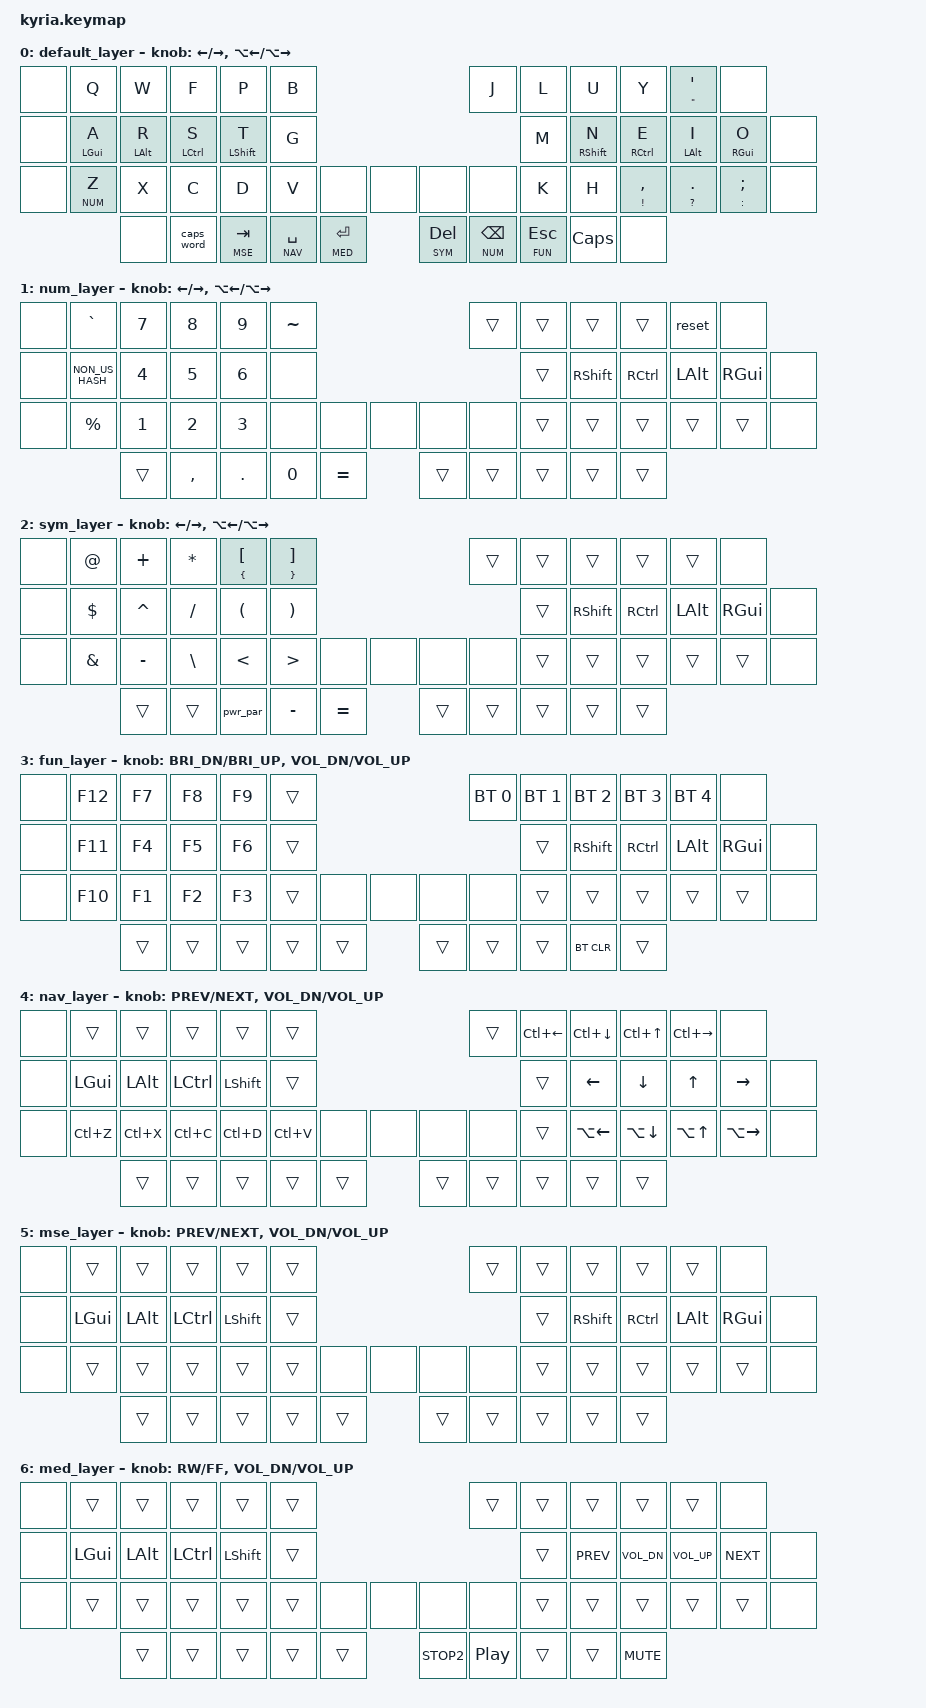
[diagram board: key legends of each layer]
/*
 * Copyright (c) 2020 The ZMK Contributors
 *
 * SPDX-License-Identifier: MIT
 */

#include <behaviors.dtsi>
#include <dt-bindings/zmk/keys.h>
#include <dt-bindings/zmk/bt.h>
#include <dt-bindings/zmk/outputs.h>

// Encoder resolutions
&left_encoder   { resolution = <3>; };
&right_encoder  { resolution = <3>; };

// None/Trans
#define _____ &none
#define t____ &trans

// Layers
#define DEFAULT 0
#define NUM 1
#define SYM 2
#define FUN 3
#define NAV 4
#define MSE 5
#define MED 6

/ {
macros {
        pwr_par: pwr_par {
		label = "power_parethesis";
		compatible = "zmk,behavior-macro";
		#binding-cells = <0>;
		wait-ms = <40>;
		tap-ms = <40>;
		bindings
		= <&kp LPAR &kp RPAR>
		, <&kp LEFT>
		;
	};
};

behaviors {
	hmi: homerow_mods_index {
		compatible = "zmk,behavior-hold-tap";
		label = "HOMEROW_MODS_INDEX";
		#binding-cells = <2>;
		tapping-term-ms = <180>;
		quick_tap_ms = <0>;
		flavor = "tap-preferred";
		bindings = <&kp>, <&kp>;
		};
	hmr: homerow_mods_ring {
		compatible = "zmk,behavior-hold-tap";
		label = "HOMEROW_MODS_RING";
		#binding-cells = <2>;
		tapping-term-ms = <210>;
		quick_tap_ms = <0>;
		flavor = "tap-preferred";
		bindings = <&kp>, <&kp>;
		};
	hml: homerow_mods_long {
		compatible = "zmk,behavior-hold-tap";
		label = "HOMEROW_MODS_LONG";
		#binding-cells = <2>;
		tapping-term-ms = <300>;
		quick_tap_ms = <0>;
		flavor = "tap-preferred";
		bindings = <&kp>, <&kp>;
		};
	phl: positional_hold_tap_left {
		compatible = "zmk,behavior-hold-tap";
		label = "POSITIONAL_HOLD_TAP";
		#binding-cells = <2>;
		flavor = "tap-preferred";
		tapping-term-ms = <180>;
		quick-tap-ms = <0>;
		bindings = <&kp>, <&kp>;
		hold-trigger-key-positions = <0 1 2 3 4 5 12 13 14 15 16 17 24 25 26 27 28 29 30 31 40 41 42 43 44>;
		};
	phr: positional_hold_tap_right {
		compatible = "zmk,behavior-hold-tap";
		label = "POSITIONAL_HOLD_TAP";
		#binding-cells = <2>;
		flavor = "tap-preferred";
		tapping-term-ms = <180>;
		quick-tap-ms = <0>;
		bindings = <&kp>, <&kp>;
		hold-trigger-key-positions = <6 7 8 9 10 11 18 19 20 21 22 23 32 33 34 35 36 37 38 39 45 46 47 48 49>;
		};
    };

/*                            KEY POSITIONS

  ╭─────────────-────────-─╮                 ╭────────────────────────╮
  │  0   1   2   3   4   5 │                 │  6   7   8   9  10  11 │
  │ 12  13  14  15  16  17 ╰───────╮ ╭───────╯ 18  19  20  21  22  23 │
  │ 24  25  26  27  28  29  30  31 │ │ 32  33  34  35  36  37  38  39 │
  ╰───────────╮ 40  41  42  43  44 │ │ 45  46  47  48  49 ╭───────────╯
              ╰────────────────────╯ ╰────────────────────╯            */


	keymap {
compatible = "zmk,keymap";
default_layer {
		bindings = <
_____ 	&kp Q		&kp W		&kp F		&kp P		&kp B 											&kp J 		&kp L 		&kp U 		&kp Y		&hmr DQT SQT 	_____
_____ 	&phl LGUI A	&phl LALT R	&phl LCTRL S	&phl LSHFT T	&kp G 											&kp M 		&phr RSHFT N  	&phr RCTRL E 	&phr LALT I	&phr RGUI O 	_____
_____	&lt NUM Z	&kp X		&kp C		&kp D 		&kp V		_____ 		_____ 			_____ 		_____ 		&kp K 		&kp H 		&hmi EXCL COMMA &hmr QMARK DOT	&hmr COLON SEMI	_____
					_____ 		&caps_word 	&lt MSE TAB 	&lt NAV SPACE 	&lt MED RET 		&lt SYM DEL	&lt NUM BSPC	&lt FUN ESC	&kp CAPS 	_____
		>;
		sensor-bindings = <&inc_dec_kp LEFT RIGHT &inc_dec_kp LA(LEFT) LA(RIGHT)>;
};
num_layer {
		bindings = <
_____ 	&kp GRAVE	&kp N7	&kp N8	&kp N9		&kp TILDE						&trans 	&trans 		&trans 		&trans 		&reset 		_____
_____ 	&kp NON_US_HASH	&kp N4	&kp N5	&kp N6		_____							&trans 	&kp RSHFT 	&kp RCTRL 	&kp LALT 	&kp RGUI 	_____
_____ 	&kp PRCNT	&kp N1	&kp N2	&kp N3		_____	_____	_____ 			_____ 	_____ 	&trans 	&trans 		&trans 		&trans 		&trans 		_____
				&trans 	&kp COMMA 	&kp DOT	&kp N0	&kp EQUAL		&trans 	&trans	&trans 	&trans 		&trans
		>;
		sensor-bindings = <&inc_dec_kp LEFT RIGHT &inc_dec_kp LA(LEFT) LA(RIGHT)>;
	};
sym_layer {
		bindings = <
_____ 	&kp AT	 	&kp PLUS 	&kp STAR 	&hmi LBRC LBKT 	&hmi RBRC RBKT												&trans 		&trans 		&trans 	   &trans 		&trans 		  _____
_____ 	&kp DLLR 	&kp CARET 	&kp FSLH	&kp LPAR 	&kp RPAR												&trans 		&kp RSHFT 	&kp RCTRL 	&kp LALT 	&kp RGUI      _____
_____ 	&kp AMPS	&kp MINUS  	&kp BSLH 	&kp LT  	&kp GT		_____ 		_____			_____ 	_____ 	&trans 		&trans 		&trans 	   &trans 		&trans 		  _____
					&trans		&trans		&pwr_par	&kp MINUS 	&kp EQUAL		&trans 	&trans 	&trans 		&trans 		&trans
		>;
		sensor-bindings = <&inc_dec_kp LEFT RIGHT &inc_dec_kp LA(LEFT) LA(RIGHT)>;
	};
fun_layer {
		bindings = <
_____ 	&kp F12		&kp F7 	&kp F8 	&kp F9 	&trans 							&bt BT_SEL 0 	&bt BT_SEL 1	&bt BT_SEL 2	&bt BT_SEL 3 	&bt BT_SEL 4	_____
_____ 	&kp F11 	&kp F4 	&kp F5 	&kp F6 	&trans 							&trans		&kp RSHFT    	&kp RCTRL	&kp LALT	&kp RGUI	_____
_____ 	&kp F10 	&kp F1 	&kp F2 	&kp F3 	&trans 	_____ 	_____			_____ 	_____ 	&trans 		&trans 		&trans		&trans 		&trans		_____
		                &trans 	&trans 	&trans 	&trans 	&trans			&trans 	&trans 	&trans 		&bt BT_CLR	&trans
		>;
		sensor-bindings = <&inc_dec_kp C_BRI_DN C_BRI_UP &inc_dec_kp C_VOL_DN C_VOL_UP>;
	};
nav_layer {
		bindings = < 
_____ 	&trans     &trans     &trans     &trans     &trans 								&trans 	&kp LC(LEFT) 	&kp LC(DOWN) 	&kp LC(UP) 	&kp LC(RIGHT) 	_____
_____ 	&kp LGUI   &kp LALT   &kp LCTRL  &kp LSHFT  &trans 								&trans 	&kp LEFT 	&kp DOWN 	&kp UP 		&kp RIGHT 	_____
_____ 	&kp LC(Z)  &kp LC(X)  &kp LC(C)  &kp LC(D) 	&kp LC(V) _____ 	_____ 			_____ 	_____ 	&trans 	&kp LA(LEFT) 	&kp LA(DOWN) 	&kp LA(UP) 	&kp LA(RIGHT) 	_____
		                       &trans    &trans     &trans    &trans 	&trans			&trans 	&trans 	&trans 	&trans 	&trans
		>;
		sensor-bindings = <&inc_dec_kp C_PREV C_NEXT &inc_dec_kp C_VOL_DN C_VOL_UP>;
	};
mse_layer {
		bindings = <
_____   &trans     &trans    &trans     &trans     &trans 											&trans 	&trans     &trans     &trans     &trans   _____
_____   &kp LGUI   &kp LALT  &kp LCTRL  &kp LSHFT  &trans 											&trans 	&kp RSHFT  &kp RCTRL  &kp LALT   &kp RGUI _____
_____   &trans     &trans    &trans     &trans     &trans 	_____ 	_____ 			_____ 	_____ 	&trans 	&trans 	   &trans     &trans     &trans   _____
							 &trans		&trans 		&trans 	&trans 	&trans 			&trans 	&trans 	&trans 	&trans 	   &trans
		>;
		sensor-bindings = <&inc_dec_kp C_PREV C_NEXT &inc_dec_kp C_VOL_DN C_VOL_UP>;
	};
med_layer {
	bindings = <
_____ 	&trans		&trans		&trans		&trans		&trans 									&trans 	&trans   	&trans		&trans   	&trans 		_____
_____ 	&kp LGUI	&kp LALT	&kp LCTRL	&kp LSHFT	&trans 									&trans 	&kp C_PREV 	&kp C_VOL_DN    &kp C_VOL_UP 	&kp C_NEXT 	_____
_____ 	&trans		&trans		&trans		&trans		&trans	_____	_____			_____ 		_____ 		&trans 	&trans     	&trans     	&trans		&trans 		_____
					&trans		&trans		&trans	&trans	&trans			&kp K_STOP2	&kp C_PP 	&trans 	&trans 		&kp K_MUTE
		>;
		sensor-bindings = <&inc_dec_kp C_RW C_FF &inc_dec_kp C_VOL_DN C_VOL_UP>;
	};
	};
	};
